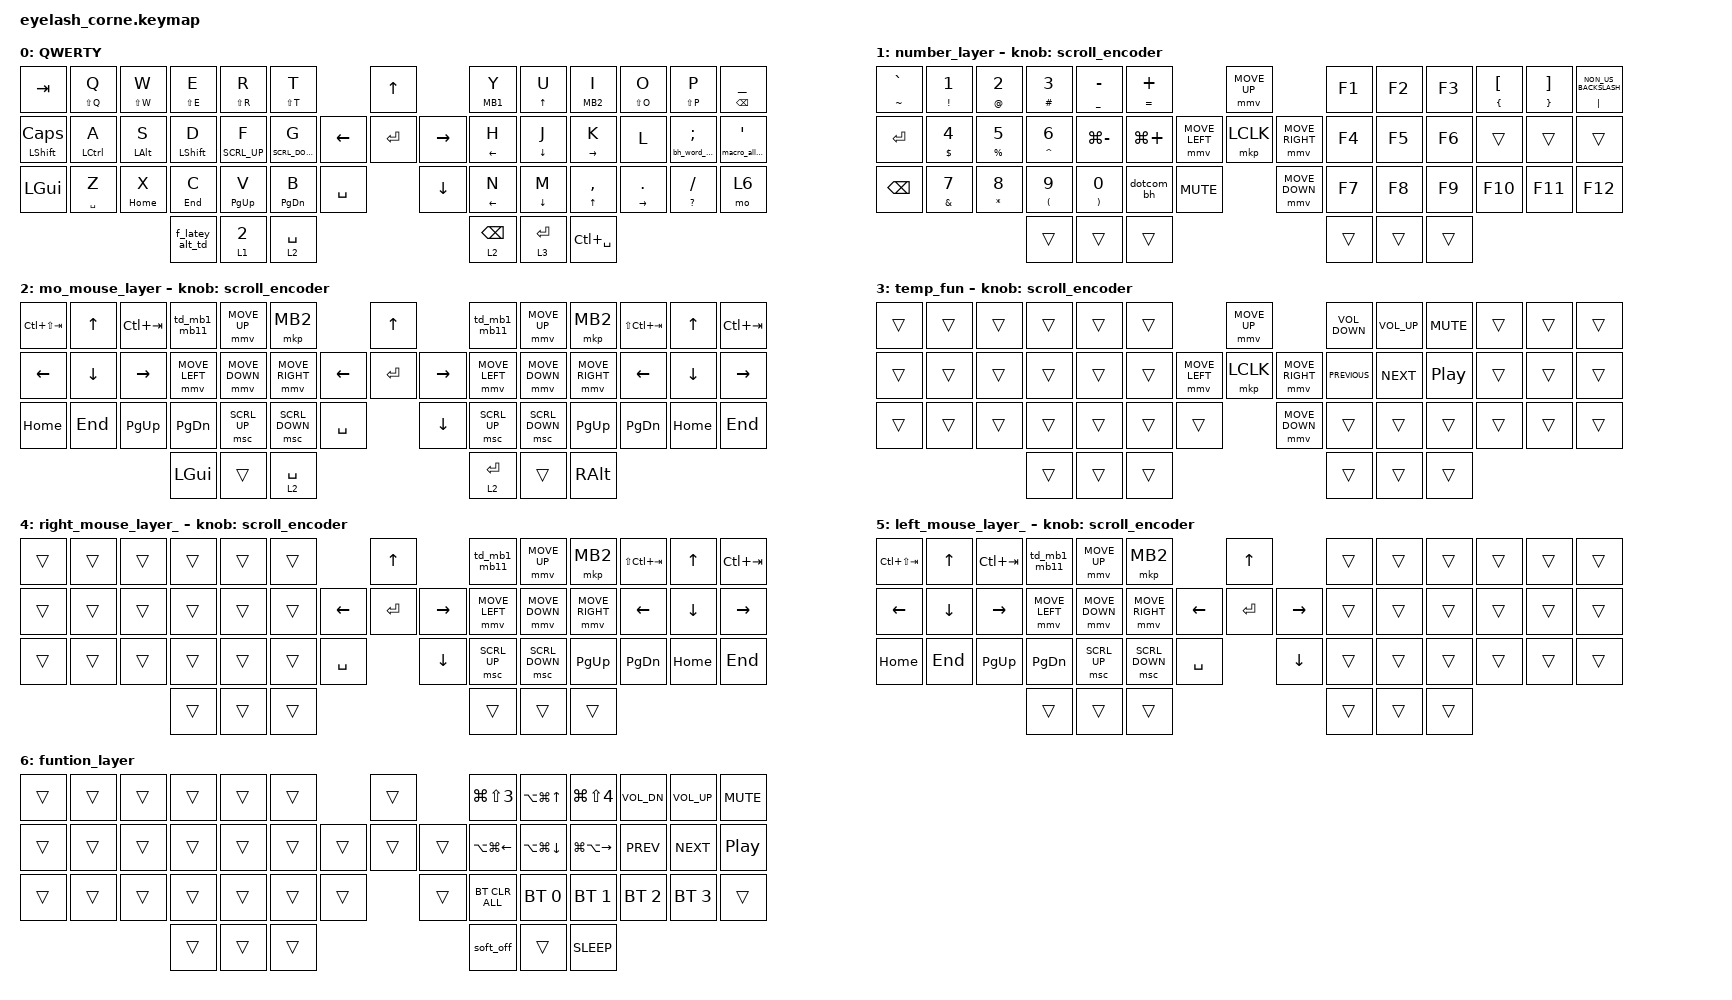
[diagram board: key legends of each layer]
#define ZMK_POINTING_DEFAULT_MOVE_VAL 170  // 600
#define ZMK_POINTING_DEFAULT_SCRL_VAL 40    // 10

#define TD_KEYS(name, term_ms, ...) \
    name: behavior_##name { \
        compatible = "zmk,behavior-tap-dance"; \
        label = #name; \
        #binding-cells = <0>; \
        tapping-term-ms = <term_ms>; \
        bindings = __VA_ARGS__; \
    };

#include <input/processors.dtsi>
#include <zephyr/dt-bindings/input/input-event-codes.h>
#include <behaviors.dtsi>
#include <dt-bindings/zmk/bt.h>
#include <dt-bindings/zmk/keys.h>
#include <dt-bindings/zmk/pointing.h>
#include <dt-bindings/zmk/rgb.h>

&mmv_input_listener { input-processors = <&zip_xy_scaler 2 1>; };

&msc_input_listener { input-processors = <&zip_scroll_scaler 4 1>; };

&msc {
    acceleration-exponent = <3>;
    time-to-max-speed-ms = <300>;
    delay-ms = <0>;
};

&mmv {
    time-to-max-speed-ms = <300>;
    acceleration-exponent = <1>;
    trigger-period-ms = <1>;
    delay-ms = <0>;
};

&soft_off { hold-time-ms = <2000>; };

/ {
    macros {
        // 된소리 매크로

        macro_pp: macro_pp {
            compatible = "zmk,behavior-macro";
            label = "MACRO_PP";
            #binding-cells = <0>;
            bindings = <&kp LS(Q)>;
        };

        macro_jj: macro_jj {
            compatible = "zmk,behavior-macro";
            label = "MACRO_JJ";
            #binding-cells = <0>;
            bindings = <&kp LS(W)>;
        };

        macro_tt: macro_tt {
            compatible = "zmk,behavior-macro";
            label = "MACRO_TT";
            #binding-cells = <0>;
            bindings = <&kp LS(E)>;
        };

        macro_kk: macro_kk {
            compatible = "zmk,behavior-macro";
            label = "MACRO_KK";
            #binding-cells = <0>;
            bindings = <&kp LS(R)>;
        };

        macro_ss: macro_ss {
            compatible = "zmk,behavior-macro";
            label = "MACRO_SS";
            #binding-cells = <0>;
            bindings = <&kp LS(T)>;
        };

        macro_yae: macro_yae {
            compatible = "zmk,behavior-macro";
            label = "MACRO_YAE";
            #binding-cells = <0>;
            bindings = <&kp LS(O)>;
        };

        macro_ye: macro_ye {
            compatible = "zmk,behavior-macro";
            label = "MACRO_YE";
            #binding-cells = <0>;
            bindings = <&kp LS(P)>;
        };

        macro_enter: macro_enter {
            compatible = "zmk,behavior-macro";
            label = "MACRO_ENTER";
            #binding-cells = <0>;
            bindings = <&kp ENTER>;
        };

        macro_double_click: macro_double_click {
            compatible = "zmk,behavior-macro";
            label = "MACRO_DOUBLE_CLICK";
            #binding-cells = <0>;
            bindings = <&mkp MB1 &mkp MB1>;
        };

        macro_all_del: macro_all_del {
            compatible = "zmk,behavior-macro";
            #binding-cells = <0>;
            bindings = <&kp LG(LEFT) &kp LG(LS(RIGHT)) &kp BACKSPACE>;
            label = "MACRO_ALL_DEL";
        };

        bh_word_del: bh_word_del {
            compatible = "zmk,behavior-macro";
            #binding-cells = <0>;
            bindings = <&kp LS(LA(LEFT_ARROW)) &kp BACKSPACE>;
            label = "BH_WORD_DEL";
        };

        macro_mb11: macro_ppp {
            compatible = "zmk,behavior-macro";
            #binding-cells = <0>;
            bindings = <&mkp MB1 &mkp MB1>;
            label = "MACRO_PPP";
        };
    };

    behaviors {
        TD_KEYS(td_down_up, 450, <&kp PG_DN>, <&kp PG_UP>, <&kp HOME>, <&kp END>)
        TD_KEYS(td_mb_src, 450, <&mkp MB1>, <&mkp MB2>, <&msc SCRL_DOWN>, <&msc SCRL_UP>)
        TD_KEYS(td_bracket, 250, <&kp LBKT>, <&kp RBKT>)
        TD_KEYS(td_brace, 250, <&kp LBRC>, <&kp RBRC>)
        TD_KEYS(td_paren, 250, <&kp LPAR>, <&kp RPAR>)
        TD_KEYS(td_grave_, 250, <&kp GRAVE>, <&kp TILDE>)
        TD_KEYS(td_1, 250, <&kp N1>, <&kp EXCL>,  <&kp F1>)
        TD_KEYS(td_2, 250, <&kp N2>, <&kp AT>,    <&kp F2>)
        TD_KEYS(td_3, 250, <&kp N3>, <&kp HASH>,  <&kp F3>)
        TD_KEYS(td_4, 250, <&kp N4>, <&kp DLLR>,  <&kp F4>)
        TD_KEYS(td_5, 250, <&kp N5>, <&kp PRCNT>, <&kp F5>)
        TD_KEYS(td_6, 250, <&kp N6>, <&kp CARET>, <&kp F6>)
        TD_KEYS(td_7, 250, <&kp N7>, <&kp AMPS>,  <&kp F7>)
        TD_KEYS(td_8, 250, <&kp N8>, <&kp ASTRK>, <&kp F8>)
        TD_KEYS(td_9, 250, <&kp N9>, <&kp LPAR>,  <&kp F9>)
        TD_KEYS(td_0, 250, <&kp N0>, <&kp RPAR>,  <&kp F10>)
        TD_KEYS(td_slash_question, 250, <&kp FSLH>, <&kp LS(FSLH)>)
        TD_KEYS(td_f11_minus, 250, <&kp MINUS>, <&kp UNDER>, <&kp F11>)
        TD_KEYS(td_f12_equal, 250, <&kp EQUAL>, <&kp PLUS>, <&kp F12>)

        TD_KEYS(td_ae_yae, 250, <&kp O>, <&macro_yae>)
        TD_KEYS(td_e_ye,   250, <&kp P>, <&macro_ye>)

        TD_KEYS(td_p_pp,   250, <&kp Q>, <&macro_pp>)
        TD_KEYS(td_j_jj,   250, <&kp W>, <&macro_jj>)
        TD_KEYS(td_t_tt,   250, <&kp E>, <&macro_tt>)
        TD_KEYS(td_k_kk,   250, <&kp R>, <&macro_kk>)
        TD_KEYS(td_s_ss,   250, <&kp T>, <&macro_ss>)

        TD_KEYS(td_toggle_layer_3, 400, <&none>, <&tog 2>)

        TD_KEYS(td_enter_layer2, 250, <&macro_enter>, <&tog 2>)

        ht_mo1_ltog3: ht_mo1_ltog3 {
            compatible = "zmk,behavior-hold-tap";
            label = "HT_MO1_LTOG3";
            bindings = <&mo>, <&td_toggle_layer_3>;

            #binding-cells = <2>;
            tapping-term-ms = <380>;
        };

        UC_BS: UC_BS {
            compatible = "zmk,behavior-tap-dance";
            label = "UC_BS";
            #binding-cells = <0>;
            bindings = <&kp UNDERSCORE>, <&kp BACKSLASH>;

            tapping-term-ms = <330>;
        };

        dotcom_bh: dotcom_bh {
            compatible = "zmk,behavior-tap-dance";
            label = "DOTCOM_BH";
            #binding-cells = <0>;
            bindings = <&kp PERIOD>, <&kp COMMA>;
        };

        ht_bh: ht_bh {
            compatible = "zmk,behavior-hold-tap";
            label = "HT_BH";
            bindings = <&kp>, <&kp>;

            #binding-cells = <2>;
            tapping-term-ms = <200>;
            flavor = "tap-preferred";
        };

        ht_bh_mmv: ht_bh_mmv {
            compatible = "zmk,behavior-hold-tap";
            label = "HT_BH_MMV";
            bindings = <&mmv>, <&kp>;

            #binding-cells = <2>;
            tapping-term-ms = <170>;
            flavor = "tap-preferred";
        };

        ht_bh_mkp: ht_bh_mkp {
            compatible = "zmk,behavior-hold-tap";
            label = "HT_BH_MKP";
            bindings = <&mkp>, <&kp>;

            #binding-cells = <2>;
            tapping-term-ms = <170>;
            flavor = "tap-preferred";
        };

        ht_bh_msc: ht_bh_msc {
            compatible = "zmk,behavior-hold-tap";
            label = "HT_BH_MSC";
            bindings = <&msc>, <&kp>;

            #binding-cells = <2>;
            tapping-term-ms = <170>;
            flavor = "tap-preferred";
        };

        bh_ht_alldel: bh_ht_alldel {
            compatible = "zmk,behavior-hold-tap";
            label = "BH_HT_ALLDEL";
            bindings = <&macro_all_del>, <&kp>;

            #binding-cells = <2>;
            tapping-term-ms = <200>;
            flavor = "tap-preferred";
        };

        // =======================================================
        // ==     F1 ~ F12 복합 동작 (수정본, 한 줄 형식)     ==
        // =======================================================
        // --- F1 ---
        // --- F2 ---
        // --- F3 ---
        // --- F4 ---
        // --- F5 ---
        // --- F6 ---

        td_n6: td_n6 {
            compatible = "zmk,behavior-tap-dance";
            label = "TD_N6";
            #binding-cells = <0>;
            tapping-term-ms = <260>;
            bindings = <&kp NUMBER_6>, <&kp CARET>;
        };

        bh_n6f6: bh_n6f6 {
            compatible = "zmk,behavior-hold-tap";
            label = "BH_N6F6";
            bindings = <&kp>, <&td_n6>;

            #binding-cells = <2>;
            flavor = "tap-preferred";
            tapping-term-ms = <250>;
        };

        // --- F7 ---

        td_n7: td_n7 {
            compatible = "zmk,behavior-tap-dance";
            label = "TD_N7";
            #binding-cells = <0>;
            tapping-term-ms = <260>;
            bindings = <&kp NUMBER_7>, <&kp AMPS>;
        };

        bh_n7f7: bh_n7f7 {
            compatible = "zmk,behavior-hold-tap";
            label = "BH_N7F7";
            bindings = <&kp>, <&td_n7>;

            #binding-cells = <2>;
            flavor = "tap-preferred";
            tapping-term-ms = <250>;
        };

        // --- F8 ---

        td_n8: td_n8 {
            compatible = "zmk,behavior-tap-dance";
            label = "TD_N8";
            #binding-cells = <0>;
            tapping-term-ms = <260>;
            bindings = <&kp NUMBER_8>, <&kp ASTRK>;
        };

        bh_n8f8: bh_n8f8 {
            compatible = "zmk,behavior-hold-tap";
            label = "BH_N8F8";
            bindings = <&kp>, <&td_n8>;

            #binding-cells = <2>;
            flavor = "tap-preferred";
            tapping-term-ms = <250>;
        };

        // --- F9 ---

        td_n9: td_n9 {
            compatible = "zmk,behavior-tap-dance";
            label = "TD_N9";
            #binding-cells = <0>;
            tapping-term-ms = <260>;
            bindings = <&kp NUMBER_9>, <&kp LPAR>;
        };

        bh_n9f9: bh_n9f9 {
            compatible = "zmk,behavior-hold-tap";
            label = "BH_N9F9";
            bindings = <&kp>, <&td_n9>;

            #binding-cells = <2>;
            flavor = "tap-preferred";
            tapping-term-ms = <250>;
        };

        // --- F10 ---

        td_n0: td_n0 {
            compatible = "zmk,behavior-tap-dance";
            label = "TD_N0";
            #binding-cells = <0>;
            tapping-term-ms = <260>;
            bindings = <&kp NUMBER_0>, <&kp RPAR>;
        };

        bh_n0f10: bh_n0f10 {
            compatible = "zmk,behavior-hold-tap";
            label = "BH_N0F10";
            bindings = <&kp>, <&td_n0>;

            #binding-cells = <2>;
            flavor = "tap-preferred";
            tapping-term-ms = <250>;
        };

        // --- F11 ---

        td_minus: td_minus {
            compatible = "zmk,behavior-tap-dance";
            label = "TD_MINUS";
            #binding-cells = <0>;
            tapping-term-ms = <260>;
            bindings = <&kp MINUS>, <&kp UNDER>;
        };

        bh_minusf11: bh_minusf11 {
            compatible = "zmk,behavior-hold-tap";
            label = "BH_MINUSF11";
            bindings = <&kp>, <&td_minus>;

            #binding-cells = <2>;
            flavor = "tap-preferred";
            tapping-term-ms = <250>;
        };

        // --- F12 ---

        td_equal: td_equal {
            compatible = "zmk,behavior-tap-dance";
            label = "TD_EQUAL";
            #binding-cells = <0>;
            tapping-term-ms = <260>;
            bindings = <&kp EQUAL>, <&kp PLUS>;
        };

        bh_equalf12: bh_equalf12 {
            compatible = "zmk,behavior-hold-tap";
            label = "BH_EQUALF12";
            bindings = <&kp>, <&td_equal>;

            #binding-cells = <2>;
            flavor = "tap-preferred";
            tapping-term-ms = <250>;
        };

        bh_word_del_bh: bh_word_del_bh {
            compatible = "zmk,behavior-hold-tap";
            label = "BH_WORD_DEL_BH";
            bindings = <&bh_word_del>, <&kp>;

            #binding-cells = <2>;
            tapping-term-ms = <200>;
            flavor = "tap-preferred";
        };

        f_latey_alt_td: f_latey_alt_td {
            compatible = "zmk,behavior-tap-dance";
            label = "F_LATEY_ALT_TD";
            #binding-cells = <0>;
            bindings = <&kp LEFT_ALT>, <&kp LEFT_WIN>;
        };

        td_mb1_mb11: td_mb1_mb11 {
            compatible = "zmk,behavior-tap-dance";
            label = "TD_MB1_MB11";
            #binding-cells = <0>;
            bindings = <&mkp MB1>, <&macro_mb11>;

            tapping-term-ms = <200>;
        };
    };

    rgb_encoder: rgb_encoder {
        compatible = "zmk,behavior-sensor-rotate";
        #sensor-binding-cells = <0>;
        bindings = <&rgb_ug RGB_BRI>, <&rgb_ug RGB_BRD>;
    };

    scroll_encoder: scroll_encoder {
        compatible = "zmk,behavior-sensor-rotate";
        #sensor-binding-cells = <0>;
        bindings = <&msc SCRL_DOWN>, <&msc SCRL_UP>;

        tap-ms = <100>;
    };

    combos {
        compatible = "zmk,combos";

        softoff {
            bindings = <&soft_off>;
            key-positions = <1 0 11 12>;
        };

        combo_x {
            timeout-ms = <80>;
            bindings = <&kp LG(X)>;
            key-positions = <30 31>;
            layers = <0>;
        };

        combo_c {
            timeout-ms = <80>;
            bindings = <&kp LG(C)>;
            key-positions = <31 32>;
            layers = <0>;
        };

        combo_paste {
            timeout-ms = <80>;
            bindings = <&kp LG(V)>;
            key-positions = <32 33>;
            layers = <0>;
        };

        combo_esc: combo_esc {
            timeout-ms = <50>;
            key-positions = <10 11>;
            bindings = <&kp ESC>;
            layers = <0>;
        };

        op_alt_f4 {
            bindings = <&kp LG(Q)>;
            key-positions = <10 11 12>;
            layers = <0>;
        };

        sd_shift_del {
            bindings = <&kp LG(BACKSPACE)>;
            key-positions = <15 16>;
            layers = <0>;
        };

        combo_double_click: combo_double_click {
            bindings = <&macro_double_click>;
            key-positions = <7 8>;
            layers = <2 4 3>;
        };

        grave {
            bindings = <&kp GRAVE>;
            key-positions = <0 1>;
            layers = <1>;
        };

        dfg_mouse {
            bindings = <&tog 5>;
            key-positions = <16 17 18>;
        };

        hjk_mouse {
            bindings = <&tog 4>;
            key-positions = <22 23 24>;
        };

        esc_asd {
            bindings = <&kp ESC>;
            key-positions = <1 2>;
            layers = <0>;
        };

        hb_alt {
            bindings = <&kp LC(SPACE)>;
            key-positions = <22 45>;
            layers = <0>;
        };

        ctrl_y {
            bindings = <&kp LG(Y)>;
            key-positions = <29 30>;
        };

        del_combo {
            bindings = <&kp DELETE>;
            key-positions = <27 41>;
            layers = <0>;
        };
    };

    keymap {
        compatible = "zmk,keymap";

        default_layer {
            display-name = "QWERTY";
            bindings = <
&kp TAB                &ht_bh LS(Q) Q  &ht_bh LS(W) W     &ht_bh LS(E) E       &ht_bh LS(R) R        &ht_bh LS(T) T                                 &kp UP                &ht_bh_mkp MB1 Y     &ht_bh UP_ARROW U    &ht_bh_mkp MB2 I       &ht_bh LS(O) O             &ht_bh LS(P) P               &ht_bh BACKSPACE UNDERSCORE
&ht_bh LSHFT CAPSLOCK  &ht_bh LCTRL A  &ht_bh LEFT_ALT S  &ht_bh LEFT_SHIFT D  &ht_bh_msc SCRL_UP F  &ht_bh_msc SCRL_DOWN G               &kp LEFT  &kp ENTER  &kp RIGHT  &ht_bh LEFT H        &ht_bh DOWN_ARROW J  &ht_bh RIGHT K         &kp L                      &bh_word_del_bh 0 SEMICOLON  &bh_ht_alldel 0 SQT
&kp LGUI               &ht_bh SPACE Z  &ht_bh HOME X      &ht_bh END C         &ht_bh PG_UP V        &ht_bh PAGE_DOWN B      &kp SPACE              &kp DOWN              &ht_bh LEFT_ARROW N  &ht_bh DOWN_ARROW M  &ht_bh UP_ARROW COMMA  &ht_bh RIGHT_ARROW PERIOD  &ht_bh QUESTION SLASH        &mo 6
                                                          &f_latey_alt_td      &ht_mo1_ltog3 1 2     &lt 2 SPACE                                                          &lt 2 BACKSPACE      &lt 3 ENTER          &kp LC(SPACE)
            >;
        };

        number_layer {
            display-name = "number_layer";
            bindings = <
&ht_bh TILDE GRAVE  &ht_bh EXCLAMATION NUMBER_1  &ht_bh AT_SIGN NUMBER_2  &ht_bh HASH NUMBER_3              &ht_bh UNDERSCORE MINUS      &ht_bh EQUAL PLUS                                &mmv MOVE_UP                     &kp F1  &kp F2  &kp F3  &ht_bh LEFT_BRACE LEFT_BRACKET  &ht_bh RIGHT_BRACE RIGHT_BRACKET  &ht_bh PIPE NON_US_BACKSLASH
&kp ENTER           &ht_bh DOLLAR NUMBER_4       &ht_bh PERCENT N5        &ht_bh CARET NUMBER_6             &kp LG(MINUS)                &kp LG(PLUS)                     &mmv MOVE_LEFT  &mkp LCLK       &mmv MOVE_RIGHT  &kp F4  &kp F5  &kp F6  &trans                          &trans                            &trans
&kp BACKSPACE       &ht_bh AMPERSAND N7          &ht_bh ASTERISK N8       &ht_bh LEFT_PARENTHESIS NUMBER_9  &ht_bh RIGHT_PARENTHESIS N0  &dotcom_bh         &kp C_MUTE                    &mmv MOVE_DOWN                   &kp F7  &kp F8  &kp F9  &kp F10                         &kp F11                           &kp F12
                                                                          &trans                            &trans                       &trans                                                                            &trans  &trans  &trans
            >;

            sensor-bindings = <&scroll_encoder>;
        };

        mo_mouse_layer {
            display-name = "mo_mouse_layer";
            bindings = <
&kp LC(LS(TAB))  &kp UP_ARROW    &kp LC(TAB)      &td_mb1_mb11    &mmv MOVE_UP    &mkp MB2                                &kp UP                &td_mb1_mb11    &mmv MOVE_UP    &mkp MB2         &kp LS(LC(TAB))  &kp UP_ARROW    &kp LC(TAB)
&kp LEFT_ARROW   &kp DOWN_ARROW  &kp RIGHT_ARROW  &mmv MOVE_LEFT  &mmv MOVE_DOWN  &mmv MOVE_RIGHT               &kp LEFT  &kp ENTER  &kp RIGHT  &mmv MOVE_LEFT  &mmv MOVE_DOWN  &mmv MOVE_RIGHT  &kp LEFT_ARROW   &kp DOWN_ARROW  &kp RIGHT_ARROW
&kp HOME         &kp END         &kp PAGE_UP      &kp PAGE_DOWN   &msc SCRL_UP    &msc SCRL_DOWN   &kp SPACE              &kp DOWN              &msc SCRL_UP    &msc SCRL_DOWN  &kp PG_UP        &kp PAGE_DOWN    &kp HOME        &kp END
                                                  &kp LGUI        &trans          &lt 2 SPACE                                                   &lt 2 ENTER     &trans          &kp RALT
            >;

            sensor-bindings = <&scroll_encoder>;
        };

        temp_fun {
            display-name = "temp_fun";
            bindings = <
&trans  &trans  &trans  &trans  &trans  &trans                            &mmv MOVE_UP                     &kp C_VOLUME_DOWN  &kp C_VOL_UP  &kp K_MUTE        &trans  &trans  &trans
&trans  &trans  &trans  &trans  &trans  &trans            &mmv MOVE_LEFT  &mkp LCLK       &mmv MOVE_RIGHT  &kp C_PREVIOUS     &kp C_NEXT    &kp C_PLAY_PAUSE  &trans  &trans  &trans
&trans  &trans  &trans  &trans  &trans  &trans  &trans                    &mmv MOVE_DOWN                   &trans             &trans        &trans            &trans  &trans  &trans
                        &trans  &trans  &trans                                                             &trans             &trans        &trans
            >;

            sensor-bindings = <&scroll_encoder>;
        };

        right_mouse_layer {
            display-name = "right_mouse_layer_";
            bindings = <
&trans  &trans  &trans  &trans  &trans  &trans                         &kp UP                &td_mb1_mb11    &mmv MOVE_UP    &mkp MB2         &kp LS(LC(TAB))  &kp UP_ARROW    &kp LC(TAB)
&trans  &trans  &trans  &trans  &trans  &trans               &kp LEFT  &kp ENTER  &kp RIGHT  &mmv MOVE_LEFT  &mmv MOVE_DOWN  &mmv MOVE_RIGHT  &kp LEFT_ARROW   &kp DOWN_ARROW  &kp RIGHT_ARROW
&trans  &trans  &trans  &trans  &trans  &trans  &kp SPACE              &kp DOWN              &msc SCRL_UP    &msc SCRL_DOWN  &kp PG_UP        &kp PAGE_DOWN    &kp HOME        &kp END
                        &trans  &trans  &trans                                               &trans          &trans          &trans
            >;

            sensor-bindings = <&scroll_encoder>;
        };

        left_mouse_layer {
            display-name = "left_mouse_layer_";
            bindings = <
&kp LC(LS(TAB))  &kp UP_ARROW    &kp LC(TAB)      &td_mb1_mb11    &mmv MOVE_UP    &mkp MB2                                &kp UP                &trans  &trans  &trans  &trans  &trans  &trans
&kp LEFT_ARROW   &kp DOWN_ARROW  &kp RIGHT_ARROW  &mmv MOVE_LEFT  &mmv MOVE_DOWN  &mmv MOVE_RIGHT               &kp LEFT  &kp ENTER  &kp RIGHT  &trans  &trans  &trans  &trans  &trans  &trans
&kp HOME         &kp END         &kp PAGE_UP      &kp PAGE_DOWN   &msc SCRL_UP    &msc SCRL_DOWN   &kp SPACE              &kp DOWN              &trans  &trans  &trans  &trans  &trans  &trans
                                                  &trans          &trans          &trans                                                        &trans  &trans  &trans
            >;

            sensor-bindings = <&scroll_encoder>;
        };

        funtion_layer {
            bindings = <
&trans  &trans  &trans  &trans  &trans  &trans                    &trans          &kp LG(LS(NUMBER_3))    &kp LA(LG(UP_ARROW))    &kp LG(LS(NUMBER_4))     &kp C_VOL_DN  &kp C_VOLUME_UP  &kp C_MUTE
&trans  &trans  &trans  &trans  &trans  &trans            &trans  &trans  &trans  &kp LA(LG(LEFT_ARROW))  &kp LA(LG(DOWN_ARROW))  &kp LG(LA(RIGHT_ARROW))  &kp C_PREV    &kp C_NEXT       &kp C_PLAY_PAUSE
&trans  &trans  &trans  &trans  &trans  &trans  &trans            &trans          &bt BT_CLR_ALL          &bt BT_SEL 0            &bt BT_SEL 1             &bt BT_SEL 2  &bt BT_SEL 3     &trans
                        &trans  &trans  &trans                                    &soft_off               &trans                  &kp C_SLEEP
            >;
        };
    };
};
